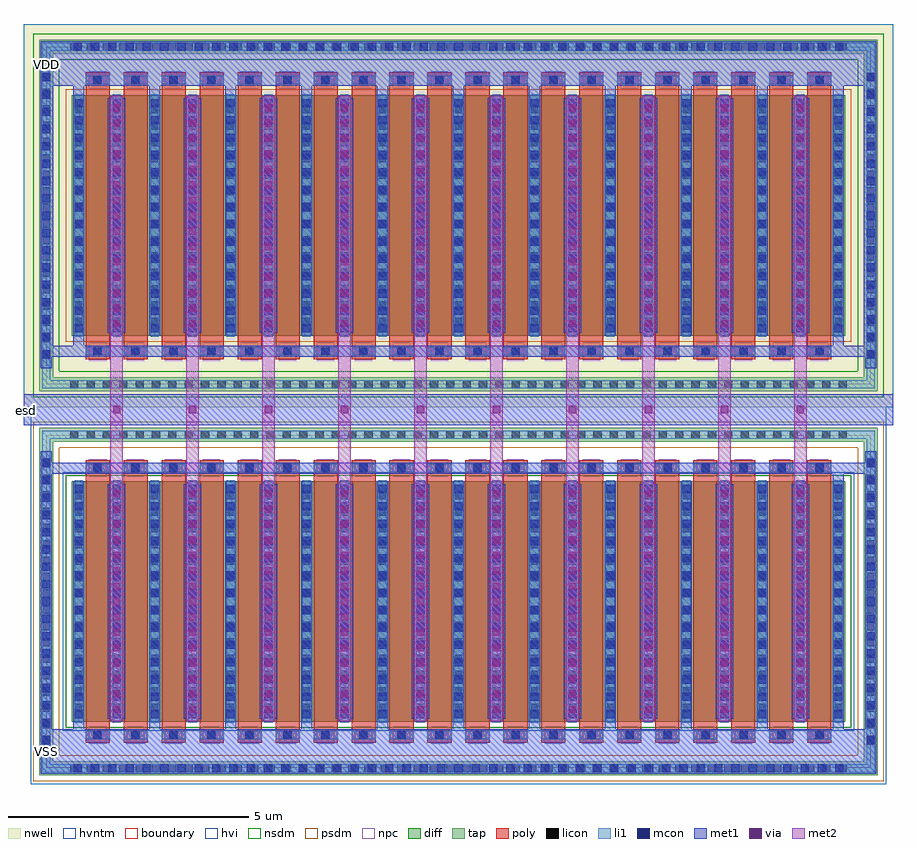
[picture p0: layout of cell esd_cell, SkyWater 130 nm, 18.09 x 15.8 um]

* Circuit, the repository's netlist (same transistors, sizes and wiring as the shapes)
* esd_cell spice

.subckt esd_cell esd VDD VSS
XM1 esd VSS VSS VSS sky130_fd_pr__nfet_g5v0d10v5 L=0.5 W=5 nf=1 ad='int((nf+1)/2) * W/nf * 0.29' as='int((nf+2)/2) * W/nf * 0.29'
+ pd='2*int((nf+1)/2) * (W/nf + 0.29)' ps='2*int((nf+2)/2) * (W/nf + 0.29)' nrd='0.29 / W' nrs='0.29 / W'
+ sa=0 sb=0 sd=0 mult=20 m=20 
XM2 esd VDD VDD VDD sky130_fd_pr__pfet_g5v0d10v5 L=0.5 W=5 nf=1 ad='int((nf+1)/2) * W/nf * 0.29' as='int((nf+2)/2) * W/nf * 0.29'
+ pd='2*int((nf+1)/2) * (W/nf + 0.29)' ps='2*int((nf+2)/2) * (W/nf + 0.29)' nrd='0.29 / W' nrs='0.29 / W'
+ sa=0 sb=0 sd=0 mult=20 m=20 
.ends

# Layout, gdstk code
import gdstk
lib = gdstk.Library(unit=1e-6, precision=1e-09)
def R(c, l, rs):  # rectangles x0, y0, x1, y1
    for r in rs: c.add(gdstk.rectangle(r[:2], r[2:], *l))
def A(c, l, x, y, w, h, nx, ny, dx, dy):  # array of equal rectangles
    R(c, l, [(x+i*dx, y+j*dy, x+i*dx+w, y+j*dy+h) for i in range(nx) for j in range(ny)])
nwell = (64, 20)
diff = (65, 20)
tap = (65, 44)
poly = (66, 20)
licon = (66, 44)
li1 = (67, 20)
mcon = (67, 44)
met1 = (68, 20)
via = (68, 44)
met2 = (69, 20)
hvi = (75, 20)
nsdm = (93, 44)
psdm = (94, 20)
npc = (95, 20)
hvntm = (125, 20)
boundary = (235, 4)

sky130_fd_pr__pfet_g5v0d = lib.new_cell('sky130_fd_pr__pfet_g5v0d10v5_CADZ46')
R(sky130_fd_pr__pfet_g5v0d, nwell, [(-9.045,-3.985,9.045,3.985)])
R(sky130_fd_pr__pfet_g5v0d, diff, [(-8.045,-2.5,8.045,2.5)])
R(sky130_fd_pr__pfet_g5v0d, tap, [(-8.715,-3.655,8.715,-3.365), (-8.715,-3.365,-8.425,3.365), (8.425,-3.365,8.715,3.365), (-8.715,3.365,8.715,3.655)])
A(sky130_fd_pr__pfet_g5v0d, poly, -7.755, -2.985, 0.5, 5.97, 20, 1, 0.79, 0)
A(sky130_fd_pr__pfet_g5v0d, licon, -8.075, -3.595, 0.17, 0.17, 48, 2, 0.34, 7.02)
A(sky130_fd_pr__pfet_g5v0d, licon, -8.655, -2.975, 0.17, 0.17, 1, 18, 0, 0.34)
A(sky130_fd_pr__pfet_g5v0d, licon, 8.485, -2.975, 0.17, 0.17, 1, 18, 0, 0.34)
A(sky130_fd_pr__pfet_g5v0d, licon, -7.59, -2.905, 0.17, 0.17, 20, 2, 0.79, 5.64)
A(sky130_fd_pr__pfet_g5v0d, licon, -7.985, -2.295, 0.17, 0.17, 21, 14, 0.79, 0.34)
A(sky130_fd_pr__pfet_g5v0d, li1, -7.755, -2.905, 0.5, 0.17, 20, 2, 0.79, 5.64)
A(sky130_fd_pr__pfet_g5v0d, li1, -7.985, -2.52, 0.17, 5.04, 21, 1, 0.79, 0)
R(sky130_fd_pr__pfet_g5v0d, li1, [(-8.655,-3.595,8.655,-3.425), (-8.655,-3.425,-8.485,3.425), (8.485,-3.425,8.655,3.425), (-8.655,3.425,8.655,3.595)])
A(sky130_fd_pr__pfet_g5v0d, mcon, -7.595, -2.905, 0.17, 0.17, 10, 2, 0.79, 5.64)
A(sky130_fd_pr__pfet_g5v0d, mcon, 0.315, -2.905, 0.17, 0.17, 10, 2, 0.79, 5.64)
A(sky130_fd_pr__pfet_g5v0d, mcon, -7.985, -2.425, 0.17, 0.17, 21, 14, 0.79, 0.36)
A(sky130_fd_pr__pfet_g5v0d, met1, -7.655, -2.935, 0.29, 0.23, 10, 2, 0.79, 5.64)
A(sky130_fd_pr__pfet_g5v0d, met1, 0.255, -2.935, 0.29, 0.23, 10, 2, 0.79, 5.64)
A(sky130_fd_pr__pfet_g5v0d, met1, -8.015, -2.5, 0.23, 5, 21, 1, 0.79, 0)
R(sky130_fd_pr__pfet_g5v0d, hvi, [(-9.045,-3.985,9.045,3.985)])
R(sky130_fd_pr__pfet_g5v0d, nsdm, [(-8.84,-3.78,8.84,-3.24), (-8.84,-3.24,-8.3,3.24), (8.3,-3.24,8.84,3.24), (-8.84,3.24,8.84,3.78)])
R(sky130_fd_pr__pfet_g5v0d, psdm, [(-8.17,-2.625,8.17,2.625)])
A(sky130_fd_pr__pfet_g5v0d, npc, -7.69, -3.005, 0.37, 0.37, 20, 2, 0.79, 5.64)
R(sky130_fd_pr__pfet_g5v0d, boundary, [(-8.57,-3.51,8.57,3.51)])

sky130_fd_pr__nfet_g5v0d = lib.new_cell('sky130_fd_pr__nfet_g5v0d10v5_BRTJC6')
R(sky130_fd_pr__nfet_g5v0d, diff, [(-8.045,-2.5,8.045,2.5)])
R(sky130_fd_pr__nfet_g5v0d, tap, [(-8.715,-3.61,8.715,-3.32), (-8.715,-3.32,-8.425,3.32), (8.425,-3.32,8.715,3.32), (-8.715,3.32,8.715,3.61)])
A(sky130_fd_pr__nfet_g5v0d, poly, -7.755, -2.94, 0.5, 5.88, 20, 1, 0.79, 0)
A(sky130_fd_pr__nfet_g5v0d, licon, -8.075, -3.55, 0.17, 0.17, 48, 2, 0.34, 6.93)
A(sky130_fd_pr__nfet_g5v0d, licon, -8.655, -2.975, 0.17, 0.17, 1, 18, 0, 0.34)
A(sky130_fd_pr__nfet_g5v0d, licon, 8.485, -2.975, 0.17, 0.17, 1, 18, 0, 0.34)
A(sky130_fd_pr__nfet_g5v0d, licon, -7.59, -2.86, 0.17, 0.17, 20, 2, 0.79, 5.55)
A(sky130_fd_pr__nfet_g5v0d, licon, -7.985, -2.295, 0.17, 0.17, 21, 14, 0.79, 0.34)
A(sky130_fd_pr__nfet_g5v0d, li1, -7.755, -2.86, 0.5, 0.17, 20, 2, 0.79, 5.55)
A(sky130_fd_pr__nfet_g5v0d, li1, -7.985, -2.52, 0.17, 5.04, 21, 1, 0.79, 0)
R(sky130_fd_pr__nfet_g5v0d, li1, [(-8.655,-3.55,8.655,-3.38), (-8.655,-3.38,-8.485,3.38), (8.485,-3.38,8.655,3.38), (-8.655,3.38,8.655,3.55)])
A(sky130_fd_pr__nfet_g5v0d, mcon, -7.595, -2.86, 0.17, 0.17, 10, 2, 0.79, 5.55)
A(sky130_fd_pr__nfet_g5v0d, mcon, 0.315, -2.86, 0.17, 0.17, 10, 2, 0.79, 5.55)
A(sky130_fd_pr__nfet_g5v0d, mcon, -7.985, -2.425, 0.17, 0.17, 21, 14, 0.79, 0.36)
A(sky130_fd_pr__nfet_g5v0d, met1, -7.655, -2.89, 0.29, 0.23, 10, 2, 0.79, 5.55)
A(sky130_fd_pr__nfet_g5v0d, met1, 0.255, -2.89, 0.29, 0.23, 10, 2, 0.79, 5.55)
A(sky130_fd_pr__nfet_g5v0d, met1, -8.015, -2.5, 0.23, 5, 21, 1, 0.79, 0)
R(sky130_fd_pr__nfet_g5v0d, hvi, [(-8.9,-3.795,8.9,3.795)])
R(sky130_fd_pr__nfet_g5v0d, nsdm, [(-8.17,-2.625,8.17,2.625)])
R(sky130_fd_pr__nfet_g5v0d, psdm, [(-8.84,-3.735,8.84,-3.195), (-8.84,-3.195,-8.3,3.195), (8.3,-3.195,8.84,3.195), (-8.84,3.195,8.84,3.735)])
A(sky130_fd_pr__nfet_g5v0d, npc, -7.69, -2.96, 0.37, 0.37, 20, 2, 0.79, 5.55)
R(sky130_fd_pr__nfet_g5v0d, hvntm, [(-8.23,-2.685,8.23,2.685)])
R(sky130_fd_pr__nfet_g5v0d, boundary, [(-8.57,-3.46,8.57,3.46)])

esd_cell = lib.new_cell('esd_cell')
A(esd_cell, nwell, 5.45, 13.985, 0.23, 0.23, 8, 1, 1.58, 0)
R(esd_cell, nwell, [(15.705,7.51,15.965,7.725), (0.71,8.56,0.94,9.075), (16.51,8.79,16.74,8.995)])
A(esd_cell, diff, 0.71, 0.97, 0.23, 0.06, 10, 1, 1.58, 0)
A(esd_cell, diff, 5.45, 13.985, 0.23, 0.01, 8, 1, 1.58, 0)
A(esd_cell, li1, 0.74, 0.95, 0.17, 0.08, 10, 1, 1.58, 0)
A(esd_cell, li1, 5.48, 13.985, 0.17, 0.03, 8, 1, 1.58, 0)
R(esd_cell, li1, [(0.55,-0.08,16.9,0.09), (0.07,0.4,0.24,6.54), (17.21,0.4,17.38,6.54), (0.07,8.38,0.24,14.61), (17.21,8.38,17.38,14.61), (0.55,14.92,16.9,15.09)])
A(esd_cell, mcon, 0.72, -0.08, 0.17, 0.17, 45, 2, 0.36, 15)
A(esd_cell, mcon, 0.07, 0.505, 0.17, 0.17, 1, 17, 0, 0.36)
A(esd_cell, mcon, 17.21, 0.505, 0.17, 0.17, 1, 17, 0, 0.36)
A(esd_cell, mcon, 0.07, 8.53, 0.17, 0.17, 1, 17, 0, 0.36)
A(esd_cell, mcon, 17.21, 8.53, 0.17, 0.17, 1, 17, 0, 0.36)
A(esd_cell, met1, 0.71, 0.81, 0.23, 0.22, 10, 1, 1.58, 0)
A(esd_cell, met1, 1.435, 1.03, 0.36, 4.88, 10, 2, 1.58, 8.025)
A(esd_cell, met1, 3.87, 13.985, 0.23, 0.215, 9, 1, 1.58, 0)
R(esd_cell, met1, [(0.04,-0.11,17.41,0.81), (0.04,0.81,0.27,6.13), (16.51,0.81,16.74,1.025), (17.18,0.81,17.41,6.13), (16.51,5.95,16.74,6.13), (0.04,6.13,17.41,6.36), (0.04,6.36,0.27,6.6), (17.18,6.36,17.41,6.6), (-0.32,7.14,17.77,7.78), (0.04,8.32,0.27,8.56), (17.18,8.32,17.41,8.56), (0.04,8.56,17.41,8.79), (0.04,8.79,0.3,14.2), (0.71,8.79,0.94,9.075), (16.51,8.79,16.74,8.995), (17.15,8.79,17.41,14.2), (0.71,13.95,0.94,14.2), (2.29,13.98,2.52,14.2), (0.04,14.2,17.41,15.12)])
A(esd_cell, via, 1.54, 1.155, 0.15, 0.15, 10, 15, 1.58, 0.32)
A(esd_cell, via, 1.54, 7.39, 0.15, 0.15, 10, 2, 1.58, 1.79)
A(esd_cell, via, 1.54, 9.5, 0.15, 0.15, 10, 14, 1.58, 0.32)
A(esd_cell, met2, 1.485, 0.98, 0.26, 13.005, 10, 1, 1.58, 0)
A(esd_cell, hvi, 0.405, 0.58, 0.84, 0.84, 10, 1, 1.58, 0)
A(esd_cell, hvi, 5.145, 13.45, 0.84, 0.12, 8, 1, 1.58, 0)
A(esd_cell, hvi, 5.145, 14.41, 0.84, 0.22, 8, 1, 1.58, 0)
R(esd_cell, hvi, [(-0.175,7.265,17.625,7.51), (5.145,13.57,17.255,14.41)])
A(esd_cell, nsdm, 0.585, 0.845, 0.48, 0.31, 10, 1, 1.58, 0)
A(esd_cell, psdm, 5.325, 13.86, 0.48, 0.26, 8, 1, 1.58, 0)
esd_cell.add(gdstk.Reference(sky130_fd_pr__pfet_g5v0d, (8.725,11.495)))
esd_cell.add(gdstk.Reference(sky130_fd_pr__nfet_g5v0d, (8.725,3.47)))
esd_cell.add(gdstk.Label('esd', (-0.265,7.44), layer=68, texttype=16))
esd_cell.add(gdstk.Label('VDD', (0.155,14.64), layer=68, texttype=16))
esd_cell.add(gdstk.Label('VSS', (0.155,0.36), layer=68, texttype=16))

lib.write_gds('esd_cell.gds')
